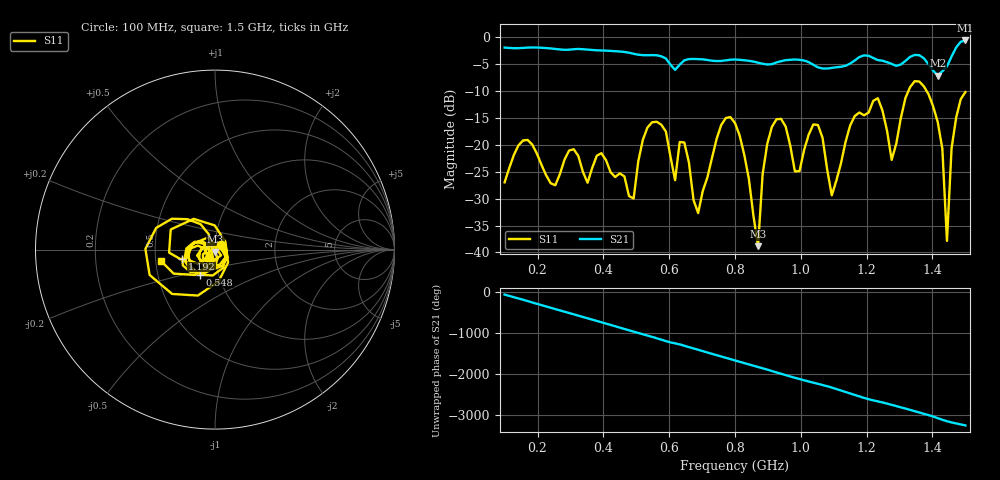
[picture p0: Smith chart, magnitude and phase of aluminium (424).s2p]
! NanoVNA-App
! Date: 2025-09-25 14:58:35
! Start: 100MHz Stop: 1,5GHz Points: 101
! S-Parameter data: F S11 S21 S12 S22
# Hz S RI R 50
!  Frequency  S11_Real  S11_Imag  S21_Real  S21_Imag  S12_Real  S12_Imag  S22_Real  S22_Imag
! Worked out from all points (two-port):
!   101 points, 100 MHz to 1.5 GHz, reference 50 ohm
!   highest |S21| = -0.60 dB at 1.5 GHz (marker M1); lowest = -7.1 dB at 1.416 GHz (marker M2)
!   |S21| within 3 dB of the highest: start of sweep to 578.1 MHz; 1.458 GHz to end of sweep (the widest 2 of 4)
!   lowest |S11| = -38.8 dB at 870 MHz (marker M3), VSWR 1.02, Z = 50.2 - j1.13 ohm
!   |S11| at or under -10 dB: start of sweep to 1.327 GHz; 1.382 GHz to end of sweep
!   S12 and S22 are empty: the file has one direction only
!   S11 on the Smith chart (normalised r, x): 100 MHz: 1.07, +0.06; 548 MHz: 0.82, -0.23; 1.192 GHz: 0.69, -0.07; 1.5 GHz: 0.53, -0.07
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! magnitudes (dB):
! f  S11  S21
! 100 MHz  -27.0  -1.9
! 156 MHz  -19.2  -2.0
! 338 MHz  -25.0  -2.2
! 492 MHz  -30.0  -3.1
! 548 MHz  -15.8  -3.3
! 576 MHz  -16.3  -3.5
! 646 MHz  -19.6  -4.3
! 688 MHz  -32.7  -4.1
! 800 MHz  -16.0  -4.1
! 870 MHz  -38.8  -4.7
! 912 MHz  -16.7  -5.0
! 996 MHz  -24.9  -4.2
! 1.038 GHz  -16.2  -5.1
! 1.094 GHz  -29.4  -5.7
! 1.192 GHz  -14.5  -3.4
! 1.234 GHz  -11.3  -4.2
! 1.276 GHz  -22.8  -5.0
! 1.346 GHz  -8.2  -3.3
! 1.416 GHz  -15.8  -7.1
! 1.444 GHz  -37.8  -5.4
! 1.458 GHz  -20.6  -3.6
! 1.5 GHz  -10.2  -0.6
